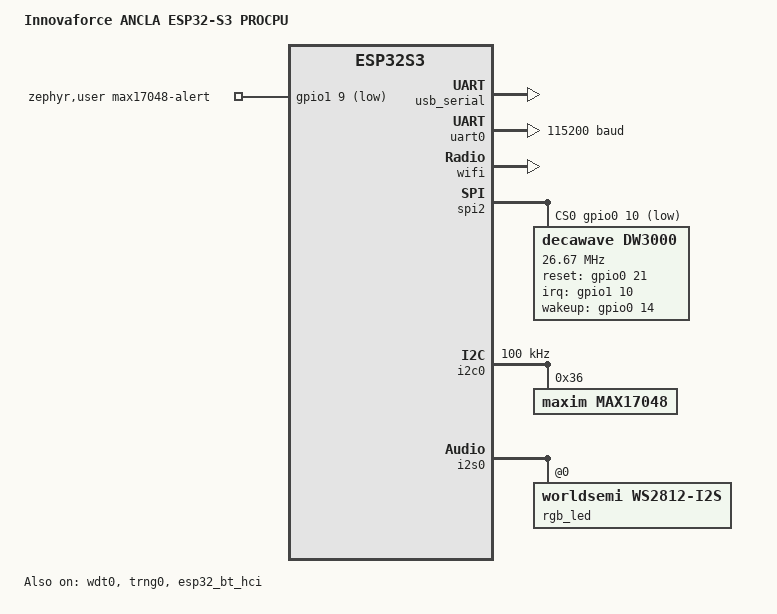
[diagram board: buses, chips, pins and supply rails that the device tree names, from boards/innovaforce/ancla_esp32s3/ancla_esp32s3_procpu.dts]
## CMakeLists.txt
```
cmake_minimum_required(VERSION 3.20.0)

list(APPEND BOARD_ROOT ${CMAKE_CURRENT_SOURCE_DIR})
list(APPEND ZEPHYR_EXTRA_MODULES ${CMAKE_CURRENT_SOURCE_DIR}/modules/dw3000-decadriver)

find_package(Zephyr REQUIRED HINTS $ENV{ZEPHYR_BASE})

project(ANCLA_ESP32S3)

target_sources(app PRIVATE
	src/anchor_respond.c
	src/anchor_shell.c
	src/apos_addrmap.c
	src/apos_frame.c
	src/apos_geom.c
	src/apos_gw.c
	src/apos_links.c
	src/apos_node.c
	src/apos_shell.c
	src/apos_stats.c
	src/apos_store.c
	src/apos_table.c
	src/beacon_guard.c
	src/blink_frame.c
	src/blink_rx.c
	src/blink_sched.c
	src/blink_shell.c
	src/ccp_frame.c
	src/ccp_master.c
	src/ccp_slave.c
	src/disc_schedule.c
	src/gw_core.c
	src/gw_selftau.c
	src/cmd_key.c
	src/cmd_proto.c
	src/hmac_sha256.c
	src/mac_budget.c
	src/main.c
	src/net_config.c
	src/net_shell.c
	src/net_store.c
	src/net_uplink.c
	src/node_cmd.c
	src/node_eui.c
	src/node_status.c
	src/pos_abg.c
	src/pos_json.c
	src/pos_residual.c
	src/pos_sink.c
	src/pos_solver.c
	src/ss_initiator.c
	src/sync_link.c
	src/sync_model.c
	src/sync_shell.c
	src/tag_id.c
	src/tdoa_collect.c
	src/tdoa_dtu.c
	src/tdoa_gw.c
	src/tdoa_solve.c
	src/uwb_config.c
	src/uwb_dwtime.c
	src/uwb_irq_wait.c
	src/uwb_frame_802_15_4z.c
	src/uwb_gateway.c
	src/uwb_radio.c
	src/uwb_slave.c
	src/uwb_store.c
)

# Calibration image only (see cal.conf, docs/superpowers/specs/
# 2026-08-13-antenna-delay-calibration-design.md). ss_initiator.c is
# deliberately NOT here: the production image needs it for the anchor survey
# (apos_node.c), which gates it on a gateway-opened window rather than on the
# build. What must stay out of production is the `cal` shell tree and cal_run's
# unsolicited-poll loop.
target_sources_ifdef(CONFIG_ANCLA_CAL_MODE app PRIVATE
	src/cal_math.c
	src/cal_run.c
	src/cal_shell.c
	src/cal_solve.c
)
```

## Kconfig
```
# Copyright (c) 2026 Innovaforce
# SPDX-License-Identifier: Apache-2.0

menu "ANCLA anchor"

config ANCLA_CAL_MODE
	bool "Antenna-delay calibration firmware"
	help
	  Build the calibration image instead of the production anchor.

	  main() hands the main thread to cal_run() rather than dispatching on
	  the configured mode, giving the board a `cal` console tree that lets
	  it act as a temporary SS-TWR initiator. Production images must never
	  enable this: a deployed anchor transmitting unsolicited polls would
	  collide with tag ranging traffic.

config ANCLA_RANGING_DEBUG
	bool "Ranging-path diagnostics"
	help
	  Compile in the DISCOVERY/WAVE responder verdict lines, the SLAVE
	  loop's RX heartbeat and frame counters, and raise the ranging
	  modules' per-module log levels to DBG.

	  Needed because those modules register at LOG_LEVEL_INF explicitly,
	  which hard-caps them no matter what CONFIG_LOG_DEFAULT_LEVEL says --
	  the beacon-guard suppression verdict in particular is a LOG_DBG that
	  a .conf overlay alone cannot reach. See src/uwb_debug.h.

	  Changes no frame, no timing constant and no gate, so a debug board
	  is a normal peer on air. It is still not a deployment image: the
	  per-frame logging and the heartbeat's extra SPI read both cost time
	  on the SLAVE loop.

config ANCLA_UPLINK_WIFI_PS_OFF
	bool "Disable WiFi modem sleep on the MQTT uplink"
	default n
	help
	  Calls NET_REQUEST_WIFI_PS (WIFI_PS_DISABLED) once the link has an
	  address, so the radio no longer sleeps between AP beacons.

	  OFF by default (the gateway always disables it regardless). The
	  ESP-IDF default (modem sleep) delays DOWNLINK
	  frames to the next DTIM, but uplink publishes are unaffected once
	  TCP_NODELAY is set (net_uplink.c), so this is not needed for
	  low-latency uplink and costs roughly 70-100 mA of average current.
	  Measured 2026-10-15: with it ON, anchors on a ~3.8 V cell browned out
	  and dropped off the broker; USB-powered or fully charged ones did not.

config ANCLA_DEBUG_FORCE_HIGH_SEAT
	bool "Pre-fill low seat ids with dummy IDLE seats (bench-only)"
	default n
	help
	  Bench aid for measuring BLINK-slot arm jitter at a HIGH seat id with
	  only a handful of real tags on hand. gw_core assigns seat_id as the
	  first free index in seats[], so with 2-3 real tags every one of them
	  lands at seat_id 0, 1, 2.

	  NOTE the real ceiling: a fresh join's scan limit is
	  min(blink_n_slots, GW_MAX_SEATS), so seat_id can NEVER exceed
	  GW_MAX_SEATS-1 (127) even though BLINK_N_SLOTS is 134 -- the seats[]
	  array, not the blink schedule, is what caps this. Do not set
	  ANCLA_DEBUG_DUMMY_SEATS anywhere near 134; the highest seat_id this
	  can ever produce is 127, and the tag's known ms-rounding gap near
	  BLINK_N_SLOTS-1 (CLAUDE.md's Task 5 entry) is therefore structurally
	  unreachable on this build regardless of this option.

	  With this on, gw_core_debug_fill_seats() marks the first
	  ANCLA_DEBUG_DUMMY_SEATS entries of seats[] as occupied, IDLE-tier,
	  effectively-infinite-lease dummy seats before any real join happens
	  -- so the next real tag to join is pushed to seat_id
	  ANCLA_DEBUG_DUMMY_SEATS instead of 0. Off by default: it changes real
	  admission behaviour (fewer real seats available) and must never ship.

config ANCLA_DEBUG_DUMMY_SEATS
	int "Dummy seats to pre-fill"
	default 120
	depends on ANCLA_DEBUG_FORCE_HIGH_SEAT
	help
	  Must stay strictly below GW_MAX_SEATS (128) MINUS the number of real
	  tags you intend to join, or later real tags get refused admission
	  outright ("no free seat") instead of landing at a high seat id --
	  gw_core_debug_fill_seats() silently clamps to GW_MAX_SEATS-1 if you
	  set this at or above 128, which leaves only ONE free seat for every
	  real tag combined. 120 leaves 8 free seats (GW_MAX_SEATS-120), enough
	  headroom for a small bench fleet while still landing the first real
	  tag near the true seat_id ceiling of 127.

config ANCLA_DW_IRQ_POLL
	bool "Poll the DW3000 for RX events instead of using its IRQ line"
	default n
	help
	  For boards whose DW3000 IRQ line does not reach the ESP32 (the older
	  PA+LNA anchor batch). The GPIO interrupt is never registered; instead
	  every place that waits for an RX callback (uwb_slave.c, cal_run.c,
	  uwb_gateway.c, via uwb_irq_wait()) reads SYS_STATUS.IRQS over SPI
	  (dwt_checkirq()) and, when set, calls dwt_isr() itself from the
	  waiting thread. Callbacks, rx_pending and CIADONE semantics are
	  unchanged: dwt_isr() still clears RX_GOOD before calling cbRxOk.

	  Costs: up to one poll period of extra latency between an RX event
	  and the thread seeing it (the SLAVE's beacon->RX re-arm must stay
	  under ~1.2 ms for the CCP behind it -- read `cia stats` on a debug
	  build), and up to ~10k SPI status reads per second while idle.

	  Build with poll.conf. irq-gpios stays in the devicetree (the binding
	  requires it); uwb_radio.c pulls that pin down instead of arming it.

config ANCLA_DW_IRQ_POLL_PERIOD_US
	int "Sleep between DW3000 status polls (us)"
	default 100
	range 50 2000
	depends on ANCLA_DW_IRQ_POLL
	help
	  k_usleep() between dwt_checkirq() reads. CONFIG_SYS_CLOCK_TICKS_PER_SEC
	  is 10000 on this build, so 100 us is one tick. A sleep, not a
	  busy-wait, so WiFi/MQTT and the shell keep running.

endmenu

source "Kconfig.zephyr"
```

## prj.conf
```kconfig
CONFIG_GPIO=y
CONFIG_SPI=y

# Qorvo/Decawave DW3220 (DW3000 family) via the vendored decadriver module.
CONFIG_DW3000=y
CONFIG_DW3000_CHIP_DW3000=y

CONFIG_LOG=y
CONFIG_LOG_DEFAULT_LEVEL=3

# Persistent per-anchor configuration in NVS on storage_partition.
CONFIG_FLASH=y
CONFIG_FLASH_MAP=y
CONFIG_NVS=y
CONFIG_SETTINGS=y
CONFIG_SETTINGS_NVS=y

# %f in the config banner and in `anchor show`.
CONFIG_CBPRINTF_FP_SUPPORT=y

# The main thread runs the mode loop.
CONFIG_MAIN_STACK_SIZE=4096

# `anchor` command tree over the native USB-JTAG console.
CONFIG_SHELL=y
CONFIG_SHELL_PROMPT_UART="uwb:~$ "

# The serial shell's RX ring defaults to 64 bytes. A pasted line longer than that loses characters
# silently ("shell_uart: RX ring buffer full"): on 2026-10-16 `net cmdkey <64 hex>` stored 30 bytes
# instead of 32, a key that no longer matched the server's. 256 clears any line this firmware's
# commands take (the longest is ~100 characters). Costs 192 bytes of RAM.
CONFIG_SHELL_BACKEND_SERIAL_RX_RING_BUFFER_SIZE=256
CONFIG_REBOOT=y

# WiFi + MQTT uplink (GATEWAY mode only; see src/net_uplink.c).
# CONFIG_WIFI_ESP32 enables itself from the board's &wifi node.
CONFIG_WIFI=y
CONFIG_NETWORKING=y
CONFIG_NET_IPV4=y
CONFIG_NET_DHCPV4=y
CONFIG_NET_SOCKETS=y
CONFIG_DNS_RESOLVER=y
CONFIG_MQTT_LIB=y

# NOT OPTIONAL, and the reason it was missing cost a real diagnosis: this
# Kconfig has no default and defaults to n (mqtt_internal.h's MQTT_CLEAN_SESSION
# macro), so every board was running a PERSISTENT broker session. Combined with
# the client-id-collision bug (uwb_config_short_addr() returning the same
# address for a fresh gateway and anchor id 0, fixed in uwb_config.c), the
# broker built up a persistent subscription under that shared client id -- and
# a persistent session survives reconnects, so the anchor kept inheriting a
# subscription it never asked for even after the client-id fix landed, showing
# up as a SLAVE board with nonzero blink_stats() received/rx_drop_evict, which
# should structurally be impossible (only a GATEWAY ever subscribes). A clean
# session on every connect is also just the right default for boards that
# reconnect on their own schedule and have no reason to want broker-side state
# to survive a disconnect.
CONFIG_MQTT_CLEAN_SESSION=y

# CloudAMQP (and most hosted brokers) only expose MQTT over TLS externally --
# port 8883 drops any client that doesn't do a TLS handshake. Peer
# verification is deliberately NOT required (TLS_PEER_VERIFY_NONE in
# net_uplink.c): no CA certificate is provisioned, matching how this broker
# is used from MQTTX today (SSL/TLS on, certificate verification off).
CONFIG_MQTT_LIB_TLS=y
CONFIG_NET_SOCKETS_SOCKOPT_TLS=y

# NOT OPTIONAL. Neither CONFIG_MQTT_LIB_TLS nor CONFIG_NET_SOCKETS_SOCKOPT_TLS
# picks a TLS protocol version or cipher suite on their own, and mbedTLS's
# generated config only turns on MBEDTLS_SSL_CLI_C/MBEDTLS_SSL_TLS_C (needed
# by Zephyr's own sockets_tls.c for mbedtls_ssl_get_session()/set_session())
# when a TLS proto version is selected -- and that alone still isn't enough:
# without a key exchange method and hash algorithm mbedTLS's own
# mbedtls_check_config.h fails the build ("no key exchange methods
# defined", "MBEDTLS_MD_C defined, but no hash algorithm"). This single
# ciphersuite selection pulls in everything needed: TLS 1.2,
# MBEDTLS_KEY_EXCHANGE_ECDHE_RSA_ENABLED, and the PSA SHA-256/GCM/AES/RSA
# algorithms -- a widely-supported suite for public TLS-terminating
# brokers (matches samples/net/secure_mqtt_sensor_actuator).
CONFIG_MBEDTLS_CIPHERSUITE_TLS_ECDHE_RSA_WITH_AES_128_GCM_SHA256=y

# CloudAMQP's TLS front end is a shared, multi-tenant terminator -- it very
# likely routes by SNI. The hostname is already set on the TLS config in
# net_uplink.c; without this Kconfig the SNI extension is never actually
# placed in the ClientHello, so the hostname field is silently a no-op.
CONFIG_MBEDTLS_SSL_SERVER_NAME_INDICATION=y

# NOT OPTIONAL. Default MBEDTLS_SSL_IN_CONTENT_LEN (1500 B) is too small for
# a real-world certificate chain: confirmed on target,
# mbedtls_ssl_fetch_input() failed ("requesting more data than fits")
# parsing CloudAMQP's ServerHello + Certificate message, which carries the
# full leaf + intermediate chain from a public CA and comfortably exceeds
# 1500 B. 4096 B leaves headroom for a multi-cert chain without the 16 KB
# some samples default to, which this project doesn't need.
CONFIG_MBEDTLS_SSL_IN_CONTENT_LEN=4096
CONFIG_MBEDTLS_SSL_OUT_CONTENT_LEN=4096

# NOT OPTIONAL. CONFIG_MQTT_LIB only `select`s NET_SOCKETS, not NET_TCP --
# MQTT is TCP-only, so without this every mqtt_connect() fails at the first
# socket() call with -EPROTOTYPE (net_context_check() in net_context.c
# rejects SOCK_STREAM outright when NET_TCP is unset).
CONFIG_NET_TCP=y

# Zephyr's networking core defaults NET_IPV6=y even though this project only
# ever asked for IPv4/DHCPv4 (see spec/plan -- IPv6 is not in scope). Left on,
# IPv6 SLAAC + Router Advertisement RDNSS competes for the DNS resolver's one
# server slot (CONFIG_DNS_RESOLVER_MAX_SERVERS default is 1) against the
# DHCPv4-supplied IPv4 server: whichever source writes the slot last wins,
# and an IPv6-only address parked there breaks our AF_INET-only broker
# lookups even though the LAN's IPv4 DNS server works fine. Disabled since it
# was never needed.
CONFIG_NET_IPV6=n

# NOT OPTIONAL. The NET_TC_THREAD_TYPE choice defaults to its first entry,
# NET_TC_THREAD_COOPERATIVE at base priority 0 -- i.e. K_PRIO_COOP(0), the
# same priority main() is promoted to below. A cooperative thread cannot be
# preempted, so an RX burst would run to completion and can overrun the
# gateway's BEACON_ARM_MARGIN_UUS (5 ms). Forcing the traffic-class threads
# preemptible is what keeps the beacon protected rather than merely lucky.
CONFIG_NET_TC_THREAD_PREEMPTIVE=y

# The system workqueue carries dwt_isr(). br101 runs the DW3000 interrupt
# handler from here rather than from the GPIO callback (platform/dw3000_hw.c),
# which is what makes SPI legal inside cbRxOk at all -- and dwt_isr() is a large
# vendor function that reads CIA diagnostics over SPI.
#
# Measured with CONFIG_THREAD_ANALYZER on 2026-08-26, gateway under an
# `apos run`: sysworkq peaked at 948 of the default 1024 bytes, i.e. 92%, with
# 76 bytes spare. That is not a margin. Raised to 2048.
#
# Not tuning. This is the same failure class that had just cost three bench
# sessions: struct gw_core_ctx (2588 B) as an automatic on the 4096-byte main
# stack overflowed by 240 bytes the moment do_solve() ran, and because neither
# CONFIG_STACK_SENTINEL nor hardware stack protection is on in this image, it
# did so in total silence -- no log line, no fatal dump, and no report even
# from a k_timer ISR. A stack at 92% with the radio ISR on it is the next one
# of those waiting to happen.
CONFIG_SYSTEM_WORKQUEUE_STACK_SIZE=2048

CONFIG_NET_LOG=y

# EUI-64 for the anchor survey: apos_node keys enumeration and the gateway's
# coordinate table on a per-board id, and the stagger that keeps enumeration
# replies from colliding is derived from it. hwinfo reads the ESP32-S3 eFuse MAC.
CONFIG_HWINFO=y

# Survey session ids (apos_gw.c) come from sys_rand32_get(). A predictable id
# would let a stale reply from an abandoned run be accepted by a new one, which
# is exactly the failure the session field exists to prevent — so this is the
# hardware RNG, not a counter and not CONFIG_TEST_RANDOM_GENERATOR. The
# production image pulls the random subsystem in via WiFi anyway; the
# calibration image (cal.conf turns networking off) does not, and fails to link
# without this.
CONFIG_ENTROPY_GENERATOR=y
```

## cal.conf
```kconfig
# Copyright (c) 2026 Innovaforce
# SPDX-License-Identifier: Apache-2.0
#
# Calibration image. Applied on top of prj.conf:
#   west build -b ancla_esp32s3/esp32s3/procpu -- -DEXTRA_CONF_FILE=cal.conf

CONFIG_ANCLA_CAL_MODE=y

# cal_run()'s loop waits on the RX semaphore and the shell request semaphore at
# the same time (k_poll), so a `cal` command is serviced between frames rather
# than only after one arrives.
CONFIG_POLL=y

# No gateway, no uplink: nothing in the cal image publishes anything. Turning
# these off also removes the WiFi blob's threads from the picture entirely, so
# nothing preempts a ranging exchange.
CONFIG_WIFI=n
CONFIG_NETWORKING=n
CONFIG_MQTT_LIB=n
CONFIG_MQTT_LIB_TLS=n
CONFIG_NET_SOCKETS=n
CONFIG_NET_SOCKETS_SOCKOPT_TLS=n
CONFIG_NET_TCP=n
CONFIG_NET_IPV4=n
CONFIG_NET_DHCPV4=n
CONFIG_DNS_RESOLVER=n
CONFIG_NET_LOG=n
```

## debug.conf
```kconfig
# Copyright (c) 2026 Innovaforce
# SPDX-License-Identifier: Apache-2.0
#
# Ranging-path diagnostics. Applied on top of prj.conf:
#   west build -b ancla_esp32s3/esp32s3/procpu --pristine -d build_dbg -- "-DEXTRA_CONF_FILE=debug.conf"
#
# (PowerShell splits an unquoted -DEXTRA_CONF_FILE=debug.conf into two
# arguments at the dot and the build fails looking for a file named "debug".)
#
# Produces the production anchor with the DISCOVERY/WAVE responder verdicts, the
# SLAVE loop's RX heartbeat and the per-beacon guard state compiled in. Same
# frames, same timing constants, same gates -- a debug board and a production
# board interoperate normally. Do not deploy it: the per-frame console traffic
# and the heartbeat's extra SPI read both cost SLAVE-loop time.

CONFIG_ANCLA_RANGING_DEBUG=y

# Deliberately NOT raising CONFIG_LOG_DEFAULT_LEVEL. It is only the level a
# module gets when it registers WITHOUT one; the ranging modules register
# explicitly (through ANCLA_LOG_LEVEL, which the flag above turns to DBG) and
# an explicit level is capped by CONFIG_LOG_MAX_LEVEL alone, already 4 here.
# Raising the default would change nothing for those modules and would promote
# the whole WiFi/net/mbedTLS stack to DBG, burying the lines being chased.
#
# CONFIG_LOG_RUNTIME_FILTERING is already on, so if a module still floods the
# console it can be quietened live: `log disable <module>` / `log enable inf
# <module>`. That only ever narrows what a build compiled in -- it cannot
# recover the DBG lines a production image left out, which is the whole reason
# this overlay exists.

# Deferred logging (Zephyr's default here) formats into this pool and DROPS
# records when it fills. The default 1024 B is far too small once every received
# frame emits a verdict line: the dropped records would be exactly the burst
# around the event being chased, and a dropped line is indistinguishable from a
# response that never happened -- the precise conflation this image exists to
# break.
CONFIG_LOG_BUFFER_SIZE=8192

# Timestamp every line past the 32-bit (~49 day) rollover so the three anchors'
# captures can be aligned against each other and against the tag's output.
CONFIG_LOG_TIMESTAMP_64BIT=y

# ---- CONFIG_LOG_MODE_IMMEDIATE was tried here and is WRONG on this build ----
#
# Do not re-add it. Tried 2026-08-26 to get the last line out before a freeze,
# on the reasoning that deferred logging cannot report a fault that starves the
# scheduler (true: the log thread runs at K_LOWEST_APPLICATION_THREAD_PRIO,
# preemptible, and CONFIG_LOG_MODE_OVERFLOW then overwrites the queued records).
# It failed twice over on hardware, both times worse than the problem:
#
# 1. It destroyed the thing under measurement. A synchronous console write from
#    the K_PRIO_COOP(0) loop costs milliseconds against a 5 ms
#    BEACON_ARM_MARGIN_UUS, so EVERY delayed beacon missed its slot -- observed
#    as "beacon missed its slot" on every superframe, with the re-base then
#    dragging the cadence to ~210.7 ms against a 200 ms T_SUPERFRAME_UUS. An
#    image whose own instrument breaks the timing cannot investigate timing.
#
# 2. It crashed the board ~1.8 s into boot, right as WiFi associated:
#    EXCCAUSE 20 (inst fetch prohibited), PC 0x640, current thread `idle`.
#    A garbage PC in the idle thread is a corrupted stack, and the likely
#    mechanism is immediate mode's inline cbprintf formatting running in a
#    context borrowing the 1024-byte CONFIG_IDLE_STACK_SIZE (an ISR taken while
#    idle, with the WiFi blob logging heavily at that moment). Deferred mode
#    only memcpys into a pool from the caller, which is why production never
#    sees this.
#
# The freeze this was reaching for is instead served from the gateway loop
# itself: the stall watchdog in uwb_gateway.c enqueues its report and then
# k_msleep(1)s, which is what lets the preemptible log thread drain it. Deferred
# logging plus one deliberate sleep beats synchronous logging everywhere here.

# Software stack sentinel, because Xtensa has no ARCH_HAS_STACK_PROTECTION here.
# Checked on every context switch: turns the next garbage-PC crash into a named
# thread and a clear overflow message instead of an address to guess at. Costs a
# word per stack and a compare per switch -- worth it in a diagnostic image,
# which is why it is here and not in prj.conf.
CONFIG_STACK_SENTINEL=y

# ---- Actual stack high-water marks, per thread ---------------------------
#
# Here because a stack overflow was found by ARITHMETIC, not by any runtime
# report, and arithmetic cannot tell you the peak: Xtensa's windowed ABI spills
# register windows on deep call chains on top of every declared frame, so the
# real high-water mark is always above the sum of the frames you can read off
# -fstack-usage. This prints what each thread actually touched, which is the
# only number that settles it.
#
# Read `main`: it is the GATEWAY loop, it carries struct gw_core_ctx, and
# do_solve() -> apos_geom_solve() -> apos_geom_refine() runs from it. If its
# unused figure approaches zero during an `apos run`, the survey is dying of
# stack exhaustion whatever else is going on.
#
# INIT_STACKS is what makes the measurement possible at all -- unused stack is
# detected by looking for the fill pattern it writes at thread creation.
CONFIG_INIT_STACKS=y
CONFIG_THREAD_NAME=y
CONFIG_THREAD_ANALYZER=y
CONFIG_THREAD_ANALYZER_USE_LOG=y
CONFIG_THREAD_ANALYZER_AUTO=y
CONFIG_THREAD_ANALYZER_AUTO_INTERVAL=5

# ---- System heap, for the WiFi "memory allocation failed" investigation ----
#
# Enables Zephyr's built-in `kernel heap` command (free / allocated /
# max. allocated). No project code involved -- the command already exists in
# subsys/shell/modules/kernel_service/heap.c and is compiled out only because
# it needs these statistics.
#
# WHY THIS HEAP, specifically: CONFIG_ESP_WIFI_HEAP_SYSTEM=y means the WiFi
# adapter allocates with k_malloc, i.e. from the kernel system heap. That heap
# is not sized here -- CONFIG_HEAP_MEM_POOL_SIZE is 0 and the effective size is
# the SUM of every subsystem's HEAP_MEM_POOL_ADD_SIZE_* request:
#
#   4096 (BOARD) + 51200 (ESP_WIFI) + 280 (GETADDRINFO) = 55576 B
#
# Against that, CONFIG_ESP32_WIFI_DYNAMIC_RX_BUFFER_NUM and
# ..._DYNAMIC_TX_BUFFER_NUM are both at their default 32, and neither those
# nor the heap were ever reviewed for this project -- prj.conf sets nothing
# about either. An anchor running WiFi at all is new since Phase 3 (net_uplink
# used to be gateway-only), which is why the failure shows up on an ANCHOR.
#
# READ `max. allocated` AGAINST 55576, and read it TOGETHER with `free`: a heap
# can refuse an allocation while holding plenty of free bytes, if they are
# fragmented into pieces smaller than the request. The two numbers separate
# "ran out" from "fragmented", and they call for different fixes -- a bigger
# heap for the first, fewer/steadier allocations for the second. Guessing which
# one it is and raising a constant is how a config gets a number nobody can
# defend.
#
# Caveat worth stating: these statistics are bookkeeping the allocator does not
# otherwise do, so this measurement perturbs the thing being measured a little.
# It is still the only view of that heap this firmware has.
CONFIG_SYS_HEAP_RUNTIME_STATS=y
```

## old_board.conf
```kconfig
# EXTRA_CONF_FILE overlay for early ancla_esp32s3 boards whose IRQ line has
# no hardware pull-down resistor. Turns on the ESP32's internal pull-down on
# the DW3220 IRQ pin (modules/dw3000-decadriver/platform/dw3000_hw.c) so the
# GPIO_INT_EDGE_RISING trigger stops missing edges on a floating pin. See
# CLAUDE.md's IRQ-float hard-won fact for the failure this fixes: rx_sem
# never given, gateway loop stalls every superframe, no beacon ever sent.
#
# Stacks with cal.conf/debug.conf -- combine with a second -DEXTRA_CONF_FILE
# entry if a board needs both.
CONFIG_ANCLA_OLD_BOARD=y
```

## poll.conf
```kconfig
# Polled-RX image for anchors whose DW3000 IRQ line does not reach the ESP32
# (older PA+LNA batch). Build:
#   west build -b ancla_esp32s3/esp32s3/procpu --pristine -d build_poll -- "-DEXTRA_CONF_FILE=poll.conf"
CONFIG_ANCLA_DW_IRQ_POLL=y
```

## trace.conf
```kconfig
# Copyright (c) 2026 Innovaforce
# SPDX-License-Identifier: Apache-2.0
#
# TEMPORARY overlay for Task 7's filter-trace investigation. Applied on top of
# prj.conf:
#   west build -b ancla_esp32s3/esp32s3/procpu --pristine -d build_trace -- "-DEXTRA_CONF_FILE=trace.conf"
#
# (Quote the -D, or PowerShell splits it at the dot and the build fails looking
# for a file named "trace".)
#
# ---- Why this is NOT debug.conf -------------------------------------------
#
# debug.conf was the obvious thing to reach for and it is the wrong tool here,
# because its own instruments fight this measurement. It compiles in
# CONFIG_ANCLA_RANGING_DEBUG, whose per-superframe `gw_sf` heartbeat is FIVE
# console lines a second, plus CONFIG_THREAD_ANALYZER_AUTO every 5 s. The
# console on this board already delivers only ~20 % of records at 2 fixes/s
# (1424 fixes counted against 291 delivered, measured 2026-09-03, with no
# Zephyr drop report because the loss is below its accounting) -- so adding a
# steady 5 lines/s takes the `pos_sink` fix lines and the 128-line `blink
# trace` dump down with it.
#
# A first attempt at the Task 7 capture was taken with debug.conf and came
# back with 71 fix lines over 463 s and no usable trace. That is what this
# file exists to avoid.
#
# So: the trace ring and NOTHING else. Same production timing, same frames,
# same gates, and a console that is quiet except for the fixes and the dump.

CONFIG_ANCLA_TDOA_TRACE=y

# The dump is ~128 shell_print lines. shell_print is synchronous and
# flow-controlled, so it does not go through the log pool and cannot be
# dropped by it -- but the FIX lines do, and they are what the dump has to be
# correlated against. 8192 B buys enough headroom that a burst of fixes during
# a runaway is not silently thinned while it is happening.
CONFIG_LOG_BUFFER_SIZE=8192

# Past the 32-bit (~49 day) rollover, so a capture can be aligned against the
# anchors' and the tag's own logs. Same reason debug.conf sets it.
CONFIG_LOG_TIMESTAMP_64BIT=y

# DELETE THIS FILE with the rest of CONFIG_ANCLA_TDOA_TRACE once the runaway
# is explained. `git grep ANCLA_TDOA_TRACE` finds every line of the feature.
```

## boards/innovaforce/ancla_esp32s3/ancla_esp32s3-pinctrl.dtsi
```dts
/*
 * Copyright (c) 2026 Innovaforce
 *
 * SPDX-License-Identifier: Apache-2.0
 */

#include <zephyr/dt-bindings/pinctrl/esp32s3-pinctrl.h>

&pinctrl {
	uart0_default: uart0_default {
		group1 {
			pinmux = <UART0_TX_GPIO43>;
			output-high;
		};

		group2 {
			pinmux = <UART0_RX_GPIO44>;
			bias-pull-up;
		};
	};

	spim2_default: spim2_default {
		group1 {
			/* No SPIM2_CSEL_GPIO10 here: CS is a plain GPIO (cs-gpios on &spi2)
			 * so the decadriver can hold it low to wake the DW3220. */
			pinmux = <SPIM2_MISO_GPIO13>,
				 <SPIM2_SCLK_GPIO12>;
		};

		group2 {
			pinmux = <SPIM2_MOSI_GPIO11>;
			output-low;
		};
	};

	i2c0_default: i2c0_default {
		group1 {
			pinmux = <I2C0_SDA_GPIO40>,
				 <I2C0_SCL_GPIO39>;
			bias-pull-up;
			drive-open-drain;
			output-high;
		};
	};

	i2s0_default: i2s0_default {
		group1 {
			/* Only O_SD (GPIO38) drives the LED; MCLK/O_WS/O_BCK/I_WS/I_BCK are spare, unconnected pins the I2S0 peripheral requires to be pinned anyway. */
			pinmux = <I2S0_MCLK_GPIO33>,
				 <I2S0_O_WS_GPIO34>,
				 <I2S0_O_BCK_GPIO35>,
				 <I2S0_I_WS_GPIO36>,
				 <I2S0_I_BCK_GPIO37>,
				 <I2S0_O_SD_GPIO38>;
			output-enable;
		};

		group2 {
			/* Unconnected; pinned only because the I2S0 peripheral requires it. */
			pinmux = <I2S0_I_SD_GPIO47>;
			input-enable;
		};
	};
};
```

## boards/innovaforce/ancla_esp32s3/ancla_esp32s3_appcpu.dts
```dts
/*
 * Copyright (c) 2026 Innovaforce
 *
 * SPDX-License-Identifier: Apache-2.0
 */
/dts-v1/;

#include <espressif/esp32s3/esp32s3_wroom_n8r2.dtsi>
#include <espressif/partitions_0x0_amp_8M.dtsi>

/ {
	model = "Innovaforce ANCLA ESP32-S3 APPCPU";
	compatible = "innovaforce,ancla-esp32s3";

	chosen {
		zephyr,sram = &sram1;
		zephyr,ipc_shm = &shm0;
		zephyr,ipc = &ipm0;
		zephyr,flash = &flash0;
		zephyr,code-partition = &slot0_appcpu_partition;
	};
};

&trng0 {
	status = "okay";
};

&ipm0 {
	status = "okay";
};
```

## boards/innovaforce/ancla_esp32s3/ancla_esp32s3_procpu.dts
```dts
/*
 * Copyright (c) 2026 Innovaforce
 *
 * SPDX-License-Identifier: Apache-2.0
 */
/dts-v1/;

#include <espressif/esp32s3/esp32s3_wroom_n8r2.dtsi>
#include <espressif/partitions_0x0_amp_8M.dtsi>
#include "ancla_esp32s3-pinctrl.dtsi"
#include <zephyr/dt-bindings/led/led.h>

/ {
	model = "Innovaforce ANCLA ESP32-S3 PROCPU";
	compatible = "innovaforce,ancla-esp32s3";

	aliases {
		i2c-0 = &i2c0;
		watchdog0 = &wdt0;
		uart-0 = &uart0;
		rgb0 = &rgb_led;
	};

	chosen {
		zephyr,sram = &sram1;
		zephyr,console = &usb_serial;
		zephyr,shell-uart = &usb_serial;
		zephyr,flash = &flash0;
		zephyr,code-partition = &slot0_partition;
		zephyr,bt-hci = &esp32_bt_hci;
	};

	zephyr,user {
		/* ALERT is open-drain, active-low per the MAX17048 datasheet. */
		max17048-alert-gpios  = <&gpio1 9 GPIO_ACTIVE_LOW>;
	};
};

&usb_serial {
	status = "okay";
};

&uart0 {
	status = "okay";
	current-speed = <115200>;
	pinctrl-0 = <&uart0_default>;
	pinctrl-names = "default";
};

&gpio0 {
	status = "okay";
};

&gpio1 {
	status = "okay";
};

&wdt0 {
	status = "okay";
};

&trng0 {
	status = "okay";
};

&esp32_bt_hci {
	status = "okay";
};

&wifi {
	status = "okay";
};

&spi2 {
	#address-cells = <1>;
	#size-cells = <0>;
	status = "okay";
	pinctrl-0 = <&spim2_default>;
	pinctrl-names = "default";
	/* GPIO-driven CS, not the SPI2 hardware CSEL: the decadriver toggles CS by
	 * hand to wake the DW3220 from DEEPSLEEP, which hardware CS cannot do. GPIO10
	 * is therefore absent from the spim2_default pinctrl group. */
	cs-gpios = <&gpio0 10 GPIO_ACTIVE_LOW>;

	/* DW3220 is a DW3000-family part, so it binds to the decawave,dw3000
	 * compatible from the vendored decadriver module. */
	dw3000: dw3000@0 {
		compatible = "decawave,dw3000";
		reg = <0>;
		status = "okay";
		/* 80 MHz APB / 3. The ESP32-S3 only produces 80/N, so the ladder
		 * is 20 / 26.67 / 40 with nothing between; 40 overruns the
		 * DW3000's ~38 MHz ceiling, making 26.67 the maximum usable rate
		 * on this hardware. Ask for 26670000, not 26000000: the HAL picks
		 * the highest rate NOT EXCEEDING the request, and 80/3 =
		 * 26.666... MHz exceeds 26, so asking for 26 silently gives 20.
		 * GPIO 11/12/13 are the SPI2 IO_MUX pins (FSPID/FSPICLK/FSPIQ),
		 * so there is no GPIO-matrix penalty at this rate. */
		spi-max-frequency = <26670000>;
		/* ACTIVE_HIGH = "reset asserted when the pin is high", because the NPN
		 * inverter inverts: GPIO HIGH -> transistor ON -> RSTn pulled LOW.
		 * Note this is the opposite of the decawave,dw3000 binding's stock
		 * active-low RESET convention, and of the board design spec's pin
		 * table. Determined on hardware 2026-08-10: with ACTIVE_LOW,
		 * dwt_probe() failed because the part was held in reset. */
		reset-gpios  = <&gpio0 21 GPIO_ACTIVE_HIGH>;
		irq-gpios    = <&gpio1 10 GPIO_ACTIVE_HIGH>;
		wakeup-gpios = <&gpio0 14 GPIO_ACTIVE_HIGH>;
	};
};

&i2c0 {
	status = "okay";
	clock-frequency = <I2C_BITRATE_STANDARD>;
	pinctrl-0 = <&i2c0_default>;
	pinctrl-names = "default";

	max17048: max17048@36 {
		compatible = "maxim,max17048";
		reg = <0x36>;
	};
};

&i2s0 {
	status = "okay";
	pinctrl-0 = <&i2s0_default>;
	pinctrl-names = "default";
	dmas = <&dma 3>;
	dma-names = "tx";

	rgb_led: ws2812@0 {
		compatible = "worldsemi,ws2812-i2s";
		reg = <0>;
		chain-length = <1>;
		color-mapping = <LED_COLOR_ID_GREEN LED_COLOR_ID_RED LED_COLOR_ID_BLUE>;
		reset-delay = <500>;
	};
};

&dma {
	status = "okay";
};

&timer3 {
	status = "disabled";
};
```

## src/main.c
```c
/*
 * Copyright (c) 2026 Innovaforce
 *
 * SPDX-License-Identifier: Apache-2.0
 *
 * Anchor boot: load the persisted configuration, bring the DW3220 up with it,
 * and hand the main thread to the configured mode.
 *
 * A radio failure deliberately does not halt the system — the shell stays
 * alive so a mis-set antenna delay or a wiring fault is recoverable over USB
 * without a reflash.
 */

#include <zephyr/kernel.h>
#include <zephyr/logging/log.h>

#include "apos_store.h"
#include "disc_schedule.h"
#include "net_config.h"
#include "net_uplink.h"
#include "node_eui.h"
#include "uwb_config.h"
#include "uwb_modes.h"
#include "uwb_radio.h"
#include "uwb_store.h"

#ifdef CONFIG_ANCLA_CAL_MODE
#include "cal_run.h"
#endif

LOG_MODULE_REGISTER(main, LOG_LEVEL_INF);

static void log_config(const uwb_config_t *cfg)
{
	/* disc_delay_uus is derived from anchor_id, not stored -- printed because
	 * it is the number that actually decides whether two boards collide.
	 * Three consoles side by side must show three different values here; two
	 * boards sharing one answer the tag's DISCOVERY broadcast in the same
	 * slot, and neither board can detect that locally. */
	/* An unassigned board has no stagger at all (it answers no DISCOVERY),
	 * so print -1 rather than the delay the 0xFF sentinel would compute. */
	int32_t disc = uwb_config_is_assigned(cfg)
		       ? (int32_t)disc_resp_delay_uus(cfg->anchor_id) : -1;

	LOG_INF("{\"mode\":\"%s\",\"eui\":\"%s\",\"id\":%u,\"assigned\":%u,"
		"\"short_addr\":\"0x%04X\","
		"\"ant_tx\":%u,\"ant_rx\":%u,"
		"\"x\":%.2f,\"y\":%.2f,\"z\":%.2f,\"pos_valid\":%u,"
		"\"disc_delay_uus\":%d}",
		uwb_config_mode_name(cfg->mode), node_eui_hex(), cfg->anchor_id,
		uwb_config_is_assigned(cfg) ? 1u : 0u,
		uwb_config_short_addr(cfg),
		cfg->ant_delay_tx, cfg->ant_delay_rx,
		(double)cfg->x, (double)cfg->y, (double)cfg->z,
		cfg->position_valid ? 1u : 0u, (int)disc);
}

int main(void)
{
	const uwb_config_t *cfg = uwb_config_get();
	int ret;

	/* First: every module that names this board -- the survey, the MQTT
	 * client id and topics, the BLINK observation -- reads the one copy. */
	node_eui_init();

	/* Before uwb_store_init(): its settings_load() runs the "net" handler,
	 * which writes into this singleton. Explicit rather than lazy because
	 * net_uplink is a second thread (see net_config.h). */
	net_config_init();

	uwb_store_init();
	/* After uwb_store_init(): its settings_load() is what runs this
	 * module's handler and fills the cache. Before net_uplink_start():
	 * the uplink publishes the anchors payload on connect and reads it. */
	apos_store_init();
	log_config(cfg);

	ret = uwb_radio_init(cfg);
	if (ret) {
		LOG_ERR("radio bring-up failed (%d) — shell stays up, not entering a mode",
			ret);
		return ret;
	}

#ifdef CONFIG_ANCLA_CAL_MODE
	/* The calibration image ignores the configured mode entirely: it is
	 * neither a SLAVE nor a GATEWAY, and it must not beacon. */
	cal_run(cfg);
#else
	if (cfg->mode == UWB_MODE_GATEWAY) {
		/* Run the beacon loop cooperatively so no network thread can
		 * preempt a delayed-TX arm. The loop already yields at its
		 * k_sem_take(), which is where every other thread gets time.
		 *
		 * This makes any unbounded busy-wait on this path fatal: no
		 * lower-priority thread -- including the shell -- can ever run
		 * again. Every spin here must be bounded (see
		 * uwb_wait_for_sysstatus_lo).
		 *
		 * SLAVE mode is deliberately left at the default priority --
		 * see the else branch below, which since Phase 3 DOES start a
		 * network thread. */
		k_thread_priority_set(k_current_get(), K_PRIO_COOP(0));
		net_uplink_start();
		uwb_gateway_run(cfg);
	} else {
		/* Since Phase 3 an anchor publishes its BLINK observations, so
		 * the uplink runs here too. SLAVE mode is still deliberately
		 * left at the DEFAULT (preemptible) priority: the loop blocks
		 * in k_sem_take() and therefore yields to the WiFi driver's
		 * threads (<= 7) on its own, and promoting it would perturb a
		 * bench-confirmed path for nothing. */
		net_uplink_start();
		uwb_slave_run(cfg);
	}
#endif

	return 0;
}
```

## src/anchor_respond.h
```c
/*
 * Copyright (c) 2026 Innovaforce
 *
 * SPDX-License-Identifier: Apache-2.0
 *
 * The two ranging responders. Each is offered every received frame and ignores
 * what is not addressed to it.
 *
 * IMPORTANT: len is the PAYLOAD length. The radio reports payload + FCS, and
 * the caller must subtract FCS_LEN before calling either function -- the frame
 * module derives field counts from the length and an extra 2 bytes silently
 * corrupts the result.
 */

#ifndef ANCHOR_RESPOND_H
#define ANCHOR_RESPOND_H

#include <stdbool.h>
#include <stdint.h>

#include "beacon_guard.h"
#include "uwb_config.h"

/* If buf is a legacy WAVE/0xE0 poll addressed to this anchor, schedule the
 * delayed VEWA/0xE1 response carrying our id, both timestamps and (x, y).
 * Otherwise no-op.
 *
 * bg may be NULL, which disables suppression. When non-NULL, a response whose
 * scheduled TX would land inside the beacon window is dropped rather than
 * transmitted -- one lost range instead of a corrupted broadcast.
 *
 * allow_unpositioned relaxes the position_valid requirement. An anchor with no
 * position MUST NOT answer a tag: the response encodes (0, 0) and the tag
 * cannot tell that apart from a real coordinate, so three unpositioned anchors
 * produce a confident meaningless fix with no error reported anywhere.
 *
 * But during an anchor survey every anchor is unpositioned and must still
 * answer its PEERS, or the survey can never bootstrap a cold deployment. The
 * caller resolves that: uwb_slave.c passes apos_node_window_open(), so the
 * relaxation lasts exactly as long as the gateway-opened survey window;
 * cal_run.c passes true, because calibrating an unpositioned board is normal
 * and there is no gateway or tag on air during calibration. */
void anchor_respond_wave_poll(const uint8_t *buf, uint16_t len,
			      uint64_t poll_rx_ts, const uwb_config_t *cfg,
			      uint8_t *seq, struct beacon_guard *bg,
			      bool allow_unpositioned);

/* If buf is a DISCOVERY/0xE2 broadcast, schedule an id-staggered
 * RANGE-RESPONSE/0xE4 carrying our short address and CIR metrics. Otherwise
 * no-op.
 *
 * cir_power / cir_quality are captured by the caller from the RX callback --
 * see uwb_slave.c. They are 0 when CIA had not finished for that frame.
 *
 * bg may be NULL, which disables suppression. When non-NULL, a response whose
 * scheduled TX would land inside the beacon window is dropped rather than
 * transmitted -- one lost range instead of a corrupted broadcast. */
void anchor_respond_discovery(const uint8_t *buf, uint16_t len, uint64_t disc_rx_ts,
			      const uwb_config_t *cfg, uint8_t *seq,
			      int32_t cir_power, uint16_t cir_quality,
			      struct beacon_guard *bg);

/* Called once for every successfully parsed beacon (frame_counter is the
 * counter that beacon carried). Checks internally whether it is this
 * anchor's turn in the ANNOUNCE rotation --
 * frame_counter % GW_ANNOUNCE_A == cfg->anchor_id (GW_ANNOUNCE_A in
 * gw_core.h) -- and if so, schedules a delayed ANNOUNCE/0xEC carrying our
 * short address, (x, y, z) and the CIR quality of that beacon, timed to land
 * inside the tag's T_ANNOUNCE_MS listen window (tag_testting's
 * uwb_net_runner.c). Otherwise no-op -- most anchors on most superframes.
 *
 * beacon_rx_ts is the RMARKER timestamp of the beacon just parsed, same units
 * as every other responder's *_rx_ts here.
 *
 * Gated on cfg->position_valid exactly like anchor_respond_wave_poll() with
 * allow_unpositioned == false -- unlike the survey path, there is no window
 * during which an unpositioned board should advertise coordinates it does
 * not have; an unsurveyed anchor simply does not announce.
 *
 * bg may be NULL, which disables suppression, same convention as the other
 * two responders. */
void anchor_respond_announce(uint32_t frame_counter, const uwb_config_t *cfg,
			     uint8_t *seq, uint64_t beacon_rx_ts,
			     int32_t cir_power, uint16_t cir_quality,
			     struct beacon_guard *bg);

/* If buf is a MULTI-POLL/0xE3 naming this anchor's short address among its
 * slots, schedule a delayed, addressed MPOL_RESP/0xED carrying our (x, y, z)
 * at the per-anchor delay the TAG assigned (slots[i].delay_us) -- not one we
 * compute -- so up to four anchors' responses land staggered inside the
 * tag's single multi-poll RX window without colliding. Otherwise no-op: the
 * poll did not name us.
 *
 * poll_rx_ts is this anchor's own RX timestamp of the multipoll, same
 * convention as every other responder's *_rx_ts here -- NOT a value read out
 * of the frame (the frame's own tx_ts field is the tag's bookkeeping, unused
 * on this path).
 *
 * bg may be NULL, which disables suppression, same convention as the other
 * responders. Gated on cfg->position_valid exactly like
 * anchor_respond_wave_poll() -- no allow_unpositioned relaxation, same
 * reasoning as anchor_respond_announce(). */
void anchor_respond_multipoll(const uint8_t *buf, uint16_t len,
			      uint64_t poll_rx_ts, const uwb_config_t *cfg,
			      uint8_t *seq, struct beacon_guard *bg);

#endif /* ANCHOR_RESPOND_H */
```

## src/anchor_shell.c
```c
/*
 * Copyright (c) 2026 Innovaforce
 *
 * SPDX-License-Identifier: Apache-2.0
 *
 * The `anchor` command tree, over the native USB-JTAG console.
 *
 * Every setter validates, then persists immediately — there is no separate
 * `save` command, so there is no "I set it but forgot to save" failure. The
 * running mode is not disturbed: changes take effect on the next boot, which
 * is what lets the UWB thread treat the config as read-only and skip locking.
 */

#include "node_eui.h"
#include "uwb_config.h"
#include "uwb_store.h"

#include <zephyr/shell/shell.h>

#include <errno.h>
#include <stdio.h>
#include <stdlib.h>
#include <string.h>

/* strtoul()/strtof() return 0 on non-numeric input without reporting the
 * failure, and 0 is a legal value for every field this file parses — so a
 * typo has to be caught here via endptr, not left to the range check below.
 * Rejects if nothing was consumed or if trailing garbage remains. */
static bool parse_ul(const char *arg, unsigned long *out)
{
	char *endptr;
	unsigned long v;

	v = strtoul(arg, &endptr, 0);
	if (endptr == arg || *endptr != '\0') {
		return false;
	}

	*out = v;
	return true;
}

static bool parse_flt(const char *arg, float *out)
{
	char *endptr;
	float v;

	v = strtof(arg, &endptr);
	if (endptr == arg || *endptr != '\0') {
		return false;
	}

	*out = v;
	return true;
}

static void print_config(const struct shell *sh)
{
	const uwb_config_t *cfg = uwb_config_get();
	char id[8];

	/* JSON null rather than 255: an unassigned board has no id, and a
	 * number would read as one. */
	if (uwb_config_is_assigned(cfg)) {
		snprintf(id, sizeof(id), "%u", (unsigned int)cfg->anchor_id);
	} else {
		snprintf(id, sizeof(id), "null");
	}

	shell_print(sh,
		    "{\"mode\":\"%s\",\"eui\":\"%s\",\"id\":%s,\"assigned\":%u,"
		    "\"short_addr\":\"0x%04X\","
		    "\"cell_mode\":\"%s\","
		    "\"ant_tx\":%u,\"ant_rx\":%u,"
		    "\"x\":%.2f,\"y\":%.2f,\"z\":%.2f,\"pos_valid\":%u}",
		    uwb_config_mode_name(cfg->mode), node_eui_hex(), id,
		    uwb_config_is_assigned(cfg) ? 1u : 0u,
		    uwb_config_short_addr(cfg),
		    uwb_config_cell_mode_name(cfg->cell_mode),
		    cfg->ant_delay_tx, cfg->ant_delay_rx,
		    (double)cfg->x, (double)cfg->y, (double)cfg->z,
		    cfg->position_valid ? 1u : 0u);
}

static int cmd_show(const struct shell *sh, size_t argc, char **argv)
{
	ARG_UNUSED(argc);
	ARG_UNUSED(argv);

	print_config(sh);
	return 0;
}

static int cmd_id(const struct shell *sh, size_t argc, char **argv)
{
	uwb_config_t *cfg = uwb_config_get();
	unsigned long v;
	int ret;

	ARG_UNUSED(argc);

	/* `auto` hands the choice back to the gateway (`apos assign`). The
	 * sentinel is not accepted as a number, so a typo cannot unassign a
	 * board. */
	if (strcmp(argv[1], "auto") == 0) {
		v = UWB_ANCHOR_ID_UNASSIGNED;
	} else if (!parse_ul(argv[1], &v) || v >= UWB_MAX_ANCHORS) {
		shell_error(sh, "error: id must be 0..%u or auto", UWB_MAX_ANCHORS - 1);
		return -EINVAL;
	}
	(void)uwb_config_set_id(cfg, (uint8_t)v);

	ret = uwb_store_save_id();
	if (ret) {
		shell_error(sh,
			    "error: anchor_id=%u applied in RAM but NOT persisted "
			    "(errno %d) — will be lost on reboot",
			    cfg->anchor_id, ret);
		return ret;
	}

	if (!uwb_config_is_assigned(cfg)) {
		shell_print(sh, "ok: id unassigned (saved) — reboot to apply; run "
			    "`apos assign` on the gateway to give this board an id");
		return 0;
	}
	shell_print(sh, "ok: anchor_id=%u (saved) — reboot to apply. A gateway "
		    "keeps it on `apos assign` only if no other board holds it",
		    cfg->anchor_id);
	return 0;
}

static int cmd_mode(const struct shell *sh, size_t argc, char **argv)
{
	uwb_config_t *cfg = uwb_config_get();
	uint8_t mode;
	int ret;

	ARG_UNUSED(argc);

	if (!uwb_config_mode_from_name(argv[1], &mode)) {
		shell_error(sh, "error: mode must be slave or gateway");
		return -EINVAL;
	}

	uwb_config_set_mode(cfg, mode);
	ret = uwb_store_save_mode();
	if (ret) {
		shell_error(sh,
			    "error: mode=%s applied in RAM but NOT persisted "
			    "(errno %d) — will be lost on reboot",
			    uwb_config_mode_name(cfg->mode), ret);
		return ret;
	}

	shell_print(sh, "ok: mode=%s (saved) — reboot to apply",
		    uwb_config_mode_name(cfg->mode));
	return 0;
}

static int cmd_cell(const struct shell *sh, size_t argc, char **argv)
{
	uwb_config_t *cfg = uwb_config_get();
	uint8_t cell_mode;
	int ret;

	ARG_UNUSED(argc);

	if (!uwb_config_cell_mode_from_name(argv[1], &cell_mode)) {
		shell_error(sh, "error: cell must be twr or blink");
		return -EINVAL;
	}

	uwb_config_set_cell_mode(cfg, cell_mode);
	ret = uwb_store_save_cell_mode();
	if (ret) {
		shell_error(sh,
			    "error: cell=%s applied in RAM but NOT persisted "
			    "(errno %d) — will be lost on reboot",
			    uwb_config_cell_mode_name(cfg->cell_mode), ret);
		return ret;
	}

	shell_print(sh, "ok: cell=%s (saved) — reboot to apply, GATEWAY only",
		    uwb_config_cell_mode_name(cfg->cell_mode));
	return 0;
}

static int cmd_pos(const struct shell *sh, size_t argc, char **argv)
{
	uwb_config_t *cfg = uwb_config_get();
	float x, y, z;
	int ret;

	ARG_UNUSED(argc);

	if (!parse_flt(argv[1], &x) || !parse_flt(argv[2], &y) || !parse_flt(argv[3], &z)) {
		shell_error(sh, "error: pos requires three numbers (x y z)");
		return -EINVAL;
	}

	uwb_config_set_pos(cfg, x, y, z);
	ret = uwb_store_save_pos();
	if (ret) {
		shell_error(sh,
			    "error: pos=(%.2f, %.2f, %.2f) applied in RAM but NOT "
			    "persisted (errno %d) — will be lost on reboot",
			    (double)cfg->x, (double)cfg->y, (double)cfg->z, ret);
		return ret;
	}

	shell_print(sh, "ok: pos=(%.2f, %.2f, %.2f) (saved) — reboot to apply",
		    (double)cfg->x, (double)cfg->y, (double)cfg->z);
	return 0;
}

static int cmd_ant(const struct shell *sh, size_t argc, char **argv)
{
	uwb_config_t *cfg = uwb_config_get();
	unsigned long tx, rx;
	int ret;

	ARG_UNUSED(argc);

	/* Say WHICH of the two things is wrong. Both arguments are bare
	 * positional numbers, and the natural mistake is to type the field
	 * names -- `anchor ant tx 16356` -- which used to be answered with a
	 * range complaint about a value the operator never supplied, sending
	 * them to check arithmetic that was already correct. Note both delays
	 * must be given every time, even when only one is being changed. */
	if (!parse_ul(argv[1], &tx) || !parse_ul(argv[2], &rx)) {
		shell_error(sh,
			    "error: expected two numbers, got \"%s\" and \"%s\"."
			    " Usage: anchor ant <tx> <rx> — both values, no "
			    "field names (e.g. anchor ant 16356 16385)",
			    argv[1], argv[2]);
		return -EINVAL;
	}

	if (!uwb_config_set_ant(cfg, (uint32_t)tx, (uint32_t)rx)) {
		shell_error(sh, "error: antenna delays must be 0..65535 "
				"(got tx=%lu rx=%lu)", tx, rx);
		return -EINVAL;
	}

	ret = uwb_store_save_ant();
	if (ret) {
		shell_error(sh,
			    "error: ant_tx=%u ant_rx=%u applied in RAM but NOT "
			    "persisted (errno %d) — will be lost on reboot",
			    cfg->ant_delay_tx, cfg->ant_delay_rx, ret);
		return ret;
	}

	shell_print(sh, "ok: ant_tx=%u ant_rx=%u (saved) — reboot to apply",
		    cfg->ant_delay_tx, cfg->ant_delay_rx);
	return 0;
}

static int cmd_reset(const struct shell *sh, size_t argc, char **argv)
{
	uwb_config_t *cfg = uwb_config_get();
	int ret, r;

	ARG_UNUSED(argc);
	ARG_UNUSED(argv);

	uwb_config_set_defaults(cfg);

	/* All five saves are always attempted, even if an earlier one fails;
	 * report the first failure. */
	ret = uwb_store_save_mode();
	r = uwb_store_save_id();
	ret = ret ? ret : r;
	r = uwb_store_save_cell_mode();
	ret = ret ? ret : r;
	r = uwb_store_save_ant();
	ret = ret ? ret : r;
	r = uwb_store_save_pos();
	ret = ret ? ret : r;

	if (ret) {
		shell_error(sh,
			    "error: defaults applied in RAM but NOT fully persisted "
			    "(errno %d) — some fields will revert on reboot", ret);
		print_config(sh);
		return ret;
	}

	shell_print(sh, "ok: defaults restored (saved) — reboot to apply");
	print_config(sh);
	return 0;
}

SHELL_STATIC_SUBCMD_SET_CREATE(sub_anchor,
	SHELL_CMD_ARG(show,  NULL, "Print the active configuration as JSON",
		      cmd_show,  1, 0),
	SHELL_CMD_ARG(id,    NULL, "id <0..3|auto> — set the ranging id, or "
		      "leave it to the gateway's `apos assign`",
		      cmd_id,    2, 0),
	SHELL_CMD_ARG(mode,  NULL, "mode <slave|gateway> — set the boot mode",
		      cmd_mode,  2, 0),
	SHELL_CMD_ARG(cell,  NULL, "cell <twr|blink> — set the GATEWAY's CFP mode",
		      cmd_cell,  2, 0),
	SHELL_CMD_ARG(pos,   NULL, "pos <x> <y> <z> — set the coordinates in metres",
		      cmd_pos,   4, 0),
	SHELL_CMD_ARG(ant,   NULL, "ant <tx> <rx> — set the antenna delays",
		      cmd_ant,   3, 0),
	SHELL_CMD_ARG(reset, NULL, "Restore the defaults and persist them",
		      cmd_reset, 1, 0),
	SHELL_SUBCMD_SET_END
);

SHELL_CMD_REGISTER(anchor, &sub_anchor, "Anchor identity and configuration", NULL);
```
